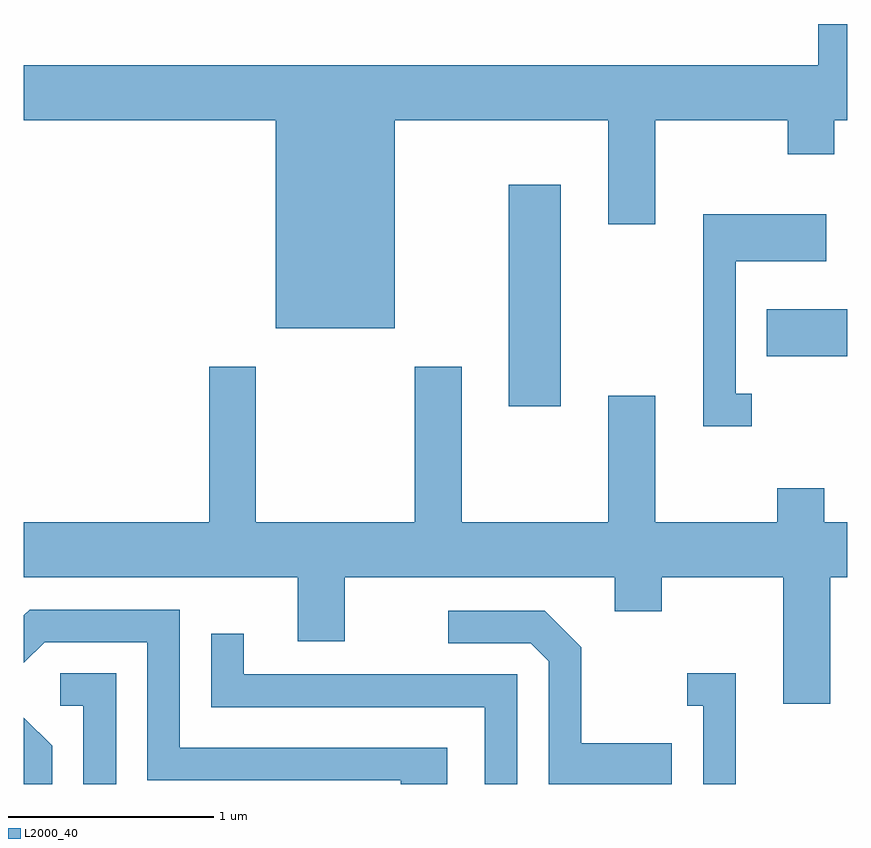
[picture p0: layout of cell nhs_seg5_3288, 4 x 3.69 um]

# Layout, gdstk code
import gdstk
lib = gdstk.Library(unit=1e-6, precision=1e-09)
def R(c, l, rs):  # rectangles x0, y0, x1, y1
    for r in rs: c.add(gdstk.rectangle(r[:2], r[2:], *l))
def P(c, l, *ps):  # polygons
    for p in ps: c.add(gdstk.Polygon(p, *l))
L2000_40 = (2000, 40)

nhs_seg5_3288 = lib.new_cell('nhs_seg5_3288')
R(nhs_seg5_3288, L2000_40, [(285.966,1399.906,286.219,1400.984), (287.221,1400.151,287.611,1400.379)])
P(nhs_seg5_3288, L2000_40, [(285.414,1401.296),(286.451,1401.296),(286.451,1400.791),(286.679,1400.791),(286.679,1401.296),(287.321,1401.296),(287.321,1401.131),(287.549,1401.131),(287.549,1401.296),(287.611,1401.296),(287.611,1401.764),(287.471,1401.764),(287.471,1401.564),(283.611,1401.564),(283.611,1401.296),(284.836,1401.296),(284.836,1400.286),(285.414,1400.286)],
  [(287.148,1399.969),(287.069,1399.969),(287.069,1400.611),(287.509,1400.611),(287.509,1400.839),(286.911,1400.839),(286.911,1399.811),(287.148,1399.811)],
  [(287.529,1399.076),(287.611,1399.076),(287.611,1399.344),(287.499,1399.344),(287.499,1399.509),(287.271,1399.509),(287.271,1399.344),(286.679,1399.344),(286.679,1399.959),(286.451,1399.959),(286.451,1399.344),(285.739,1399.344),(285.739,1400.099),(285.511,1400.099),(285.511,1399.344),(284.739,1399.344),(284.739,1400.099),(284.511,1400.099),(284.511,1399.344),(283.611,1399.344),(283.611,1399.076),(284.941,1399.076),(284.941,1398.766),(285.169,1398.766),(285.169,1399.076),(286.481,1399.076),(286.481,1398.911),(286.709,1398.911),(286.709,1399.076),(287.301,1399.076),(287.301,1398.461),(287.529,1398.461)],
  [(285.669,1398.249),(284.369,1398.249),(284.369,1398.919),(283.639,1398.919),(283.611,1398.891),(283.611,1398.66),(283.712,1398.761),(284.211,1398.761),(284.211,1398.091),(285.441,1398.091),(285.441,1398.072),(285.669,1398.072)],
  [(286.759,1398.269),(286.319,1398.269),(286.319,1398.737),(286.142,1398.914),(285.673,1398.914),(285.673,1398.756),(286.074,1398.756),(286.161,1398.669),(286.161,1398.072),(286.759,1398.072)],
  [(286.009,1398.604),(284.679,1398.604),(284.679,1398.803),(284.521,1398.803),(284.521,1398.446),(285.851,1398.446),(285.851,1398.072),(286.009,1398.072)],
  [(284.059,1398.609),(283.788,1398.609),(283.788,1398.451),(283.901,1398.451),(283.901,1398.072),(284.059,1398.072)],
  [(287.069,1398.609),(286.833,1398.609),(286.833,1398.451),(286.911,1398.451),(286.911,1398.072),(287.069,1398.072)],
  [(283.749,1398.257),(283.611,1398.395),(283.611,1398.072),(283.749,1398.072)])

lib.write_gds('nhs_seg5_3288.gds')
